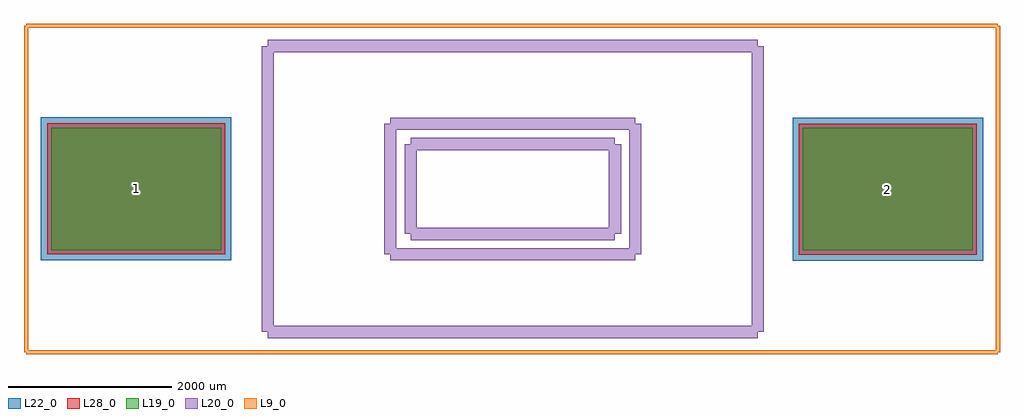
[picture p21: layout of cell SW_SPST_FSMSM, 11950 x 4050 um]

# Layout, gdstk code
import gdstk
lib = gdstk.Library(unit=1e-6, precision=1e-09)
def R(c, l, rs):  # rectangles x0, y0, x1, y1
    for r in rs: c.add(gdstk.rectangle(r[:2], r[2:], *l))
L9_0 = (9, 0)
L19_0 = (19, 0)
L20_0 = (20, 0)
L22_0 = (22, 0)
L28_0 = (28, 0)

sw_spst_fsmsm = lib.new_cell('SW_SPST_FSMSM')
R(sw_spst_fsmsm, L19_0, [(3562.43,-752.32,5642.43,747.68), (-5642.43,-747.68,-3562.43,752.32)])
R(sw_spst_fsmsm, L22_0, [(3437.43,-877.32,5767.43,872.68), (-5767.43,-872.68,-3437.43,877.32)])
R(sw_spst_fsmsm, L28_0, [(3512.43,-802.32,5692.43,797.68), (-5692.43,-797.68,-3512.43,802.32)])
sw_spst_fsmsm.add(gdstk.FlexPath([(-5950,2000),(5950,2000)], 50, ends="flush", simple_path=True, layer=9, datatype=0))  # L9_0
sw_spst_fsmsm.add(gdstk.FlexPath([(-5950,2000),(-5950,-2000)], 50, ends="flush", simple_path=True, layer=9, datatype=0))  # L9_0
sw_spst_fsmsm.add(gdstk.FlexPath([(3010.11,1750.22),(3010.11,-1749.78)], 149.998, ends="flush", simple_path=True, layer=20, datatype=0))  # L20_0
sw_spst_fsmsm.add(gdstk.FlexPath([(-2989.89,1750.22),(-2989.89,-1749.78)], 149.998, ends="flush", simple_path=True, layer=20, datatype=0))  # L20_0
sw_spst_fsmsm.add(gdstk.FlexPath([(-2989.89,1750.22),(3010.11,1750.22)], 149.998, ends="flush", simple_path=True, layer=20, datatype=0))  # L20_0
sw_spst_fsmsm.add(gdstk.FlexPath([(-2989.89,-1749.78),(3010.11,-1749.78)], 149.998, ends="flush", simple_path=True, layer=20, datatype=0))  # L20_0
sw_spst_fsmsm.add(gdstk.FlexPath([(5950,2000),(5950,-2000)], 50, ends="flush", simple_path=True, layer=9, datatype=0))  # L9_0
sw_spst_fsmsm.add(gdstk.FlexPath([(-5950,-2000),(5950,-2000)], 50, ends="flush", simple_path=True, layer=9, datatype=0))  # L9_0
sw_spst_fsmsm.add(gdstk.FlexPath([(-1489.89,800.22),(-1489.89,-799.78)], 149.998, ends="flush", simple_path=True, layer=20, datatype=0))  # L20_0
sw_spst_fsmsm.add(gdstk.FlexPath([(1510.11,800.22),(1510.11,-799.78)], 149.998, ends="flush", simple_path=True, layer=20, datatype=0))  # L20_0
sw_spst_fsmsm.add(gdstk.FlexPath([(-1489.89,800.22),(1510.11,800.22)], 149.998, ends="flush", simple_path=True, layer=20, datatype=0))  # L20_0
sw_spst_fsmsm.add(gdstk.FlexPath([(-1489.89,-799.78),(1510.11,-799.78)], 149.998, ends="flush", simple_path=True, layer=20, datatype=0))  # L20_0
sw_spst_fsmsm.add(gdstk.FlexPath([(-1239.89,-549.78),(-1239.89,550.22)], 149.998, ends="flush", simple_path=True, layer=20, datatype=0))  # L20_0
sw_spst_fsmsm.add(gdstk.FlexPath([(1260.11,-549.78),(-1239.89,-549.78)], 149.998, ends="flush", simple_path=True, layer=20, datatype=0))  # L20_0
sw_spst_fsmsm.add(gdstk.FlexPath([(1260.11,550.22),(1260.11,-549.78)], 149.998, ends="flush", simple_path=True, layer=20, datatype=0))  # L20_0
sw_spst_fsmsm.add(gdstk.FlexPath([(-1239.89,550.22),(1260.11,550.22)], 149.998, ends="flush", simple_path=True, layer=20, datatype=0))  # L20_0
sw_spst_fsmsm.add(gdstk.Label('2', (4602.43,-2.32), layer=28, texttype=0))
sw_spst_fsmsm.add(gdstk.Label('1', (-4602.43,2.32), layer=28, texttype=0))
sw_spst_fsmsm.add(gdstk.Label('type', (0,-3000), layer=9, texttype=0))
sw_spst_fsmsm.add(gdstk.Label('devicename', (10.11,2600.22), layer=9, texttype=0))

lib.write_gds('SW_SPST_FSMSM.gds')
